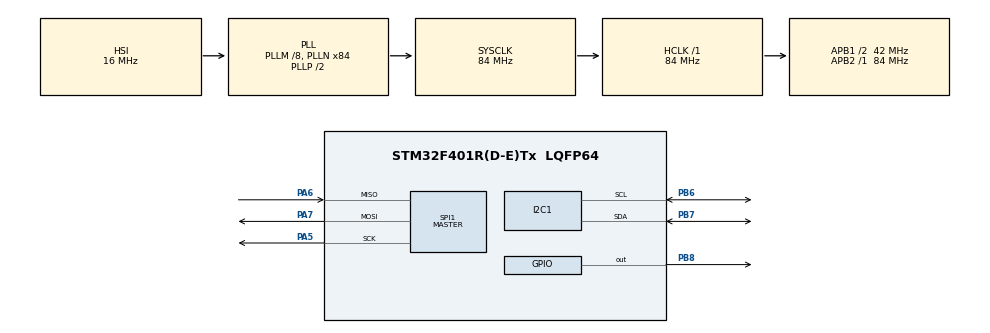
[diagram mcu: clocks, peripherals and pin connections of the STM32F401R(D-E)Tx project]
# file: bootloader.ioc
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I2C1.I2C_Mode=I2C_Fast
Mcu.Family=STM32F4
Mcu.Name=STM32F401R(D-E)Tx
Mcu.Package=LQFP64
NVIC.PriorityGroup=NVIC_PRIORITYGROUP_4
PA13.Mode=Serial_Wire
PA13.Signal=SYS_JTMS-SWDIO
PA14.Mode=Serial_Wire
PA14.Signal=SYS_JTCK-SWCLK
PA5.Mode=Full_Duplex_Master
PA5.Signal=SPI1_SCK
PA6.Mode=Full_Duplex_Master
PA6.Signal=SPI1_MISO
PA7.Mode=Full_Duplex_Master
PA7.Signal=SPI1_MOSI
PB6.Mode=I2C
PB6.Signal=I2C1_SCL
PB7.Mode=I2C
PB7.Signal=I2C1_SDA
PB8.Signal=GPIO_Output
PC14-OSC32_IN.Mode=LSE-External-Oscillator
PC14-OSC32_IN.Signal=RCC_OSC32_IN
PC15-OSC32_OUT.Mode=LSE-External-Oscillator
PC15-OSC32_OUT.Signal=RCC_OSC32_OUT
PH0\ -\ OSC_IN.Mode=HSE-External-Oscillator
PH0\ -\ OSC_IN.Signal=RCC_OSC_IN
PH1\ -\ OSC_OUT.Mode=HSE-External-Oscillator
PH1\ -\ OSC_OUT.Signal=RCC_OSC_OUT
ProjectManager.HeapSize=0x200
ProjectManager.StackSize=0x400
ProjectManager.TargetToolchain=CMake
RCC.48MHZClocksFreq_Value=42000000
RCC.AHBFreq_Value=84000000
RCC.APB1CLKDivider=RCC_HCLK_DIV2
RCC.APB1Freq_Value=42000000
RCC.APB1TimFreq_Value=84000000
RCC.APB2Freq_Value=84000000
RCC.APB2TimFreq_Value=84000000
RCC.CortexFreq_Value=84000000
RCC.HCLKFreq_Value=84000000
RCC.HSE_VALUE=25000000
RCC.HSI_VALUE=16000000
RCC.PLLM=8
RCC.PLLN=84
RCC.RCC_RTC_Clock_Source=RCC_RTCCLKSOURCE_LSE
RCC.SYSCLKFreq_VALUE=84000000
RCC.SYSCLKSource=RCC_SYSCLKSOURCE_PLLCLK
RCC.VCOOutputFreq_Value=168000000
SPI1.BaudRatePrescaler=SPI_BAUDRATEPRESCALER_16
SPI1.Direction=SPI_DIRECTION_2LINES
SPI1.Mode=SPI_MODE_MASTER
SPI1.VirtualType=VM_MASTER
VP_RTC_VS_RTC_Activate.Mode=RTC_Enabled
board=custom

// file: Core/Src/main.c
/* USER CODE BEGIN Header */
/**
  ******************************************************************************
  * @file           : main.c
  * @brief          : Main program body
  ******************************************************************************
  * @attention
  *
  * Copyright (c) 2026 STMicroelectronics.
  * All rights reserved.
  *
  * This software is licensed under terms that can be found in the LICENSE file
  * in the root directory of this software component.
  * If no LICENSE file comes with this software, it is provided AS-IS.
  *
  ******************************************************************************
  */
/* USER CODE END Header */
#include "main.h"
#include "i2c.h"
#include "rtc.h"
#include "spi.h"
#include "gpio.h"

/* USER CODE BEGIN Includes */
#include "bootloader.h"
#include "scroll.h"
#include <stdint.h>
#include "oled.h"
/* USER CODE END Includes */

/* USER CODE BEGIN PV */
extern FirmwareHeader_t header;
extern uint32_t crc;
/* USER CODE END PV */

void SystemClock_Config(void);

/* USER CODE BEGIN 0 */
u8g2_t u8g2;
/* USER CODE END 0 */

int main(void)
{

  /* MCU Configuration--------------------------------------------------------*/

  /* Reset of all peripherals, Initializes the Flash interface and the Systick. */
  HAL_Init();

  /* Configure the system clock */
  SystemClock_Config();

  /* Initialize all configured peripherals */
  MX_GPIO_Init();
  MX_SPI1_Init();
  MX_I2C1_Init();
  MX_RTC_Init();
  /* USER CODE BEGIN 2 */
  u8g2Init(&u8g2);
  crc = 0xFFFFFFFF;
  uint32_t out_size=0;
  uint8_t message=0;
  uint8_t update_message=Updata_Check();
  if (update_message== UPDATE_REQUESTED) {
    log_print("Update needed");
    log_display(&u8g2);
    message=Get_Update_Program_Chunk(&out_size);
    if(message==0||crc != header.crc){
      log_print("CRC ERROR");
      log_display(&u8g2);
      Get_Backup();
    }
  }else if (update_message ==UPDATE_NOT_NEEDED) {
    log_print("No Update needed");
    log_display(&u8g2);
  } else if(update_message ==UPDATE_Connect_Fail){
    log_print("Connection failed");
    log_display(&u8g2);
  }
  uint32_t msp   = *(uint32_t*)APP_ADDRESS;
  uint32_t reset = *(uint32_t*)(APP_ADDRESS + 4);
  jump_app();
  /* USER CODE END 2 */

  /* Infinite loop */
  while (1)
  {

  }
}

void SystemClock_Config(void)
{
  RCC_OscInitTypeDef RCC_OscInitStruct = {0};
  RCC_ClkInitTypeDef RCC_ClkInitStruct = {0};

  /** Configure the main internal regulator output voltage
  */
  __HAL_RCC_PWR_CLK_ENABLE();
  __HAL_PWR_VOLTAGESCALING_CONFIG(PWR_REGULATOR_VOLTAGE_SCALE2);

  /** Initializes the RCC Oscillators according to the specified parameters
  * in the RCC_OscInitTypeDef structure.
  */
  RCC_OscInitStruct.OscillatorType = RCC_OSCILLATORTYPE_HSI|RCC_OSCILLATORTYPE_LSE;
  RCC_OscInitStruct.LSEState = RCC_LSE_ON;
  RCC_OscInitStruct.HSIState = RCC_HSI_ON;
  RCC_OscInitStruct.HSICalibrationValue = RCC_HSICALIBRATION_DEFAULT;
  RCC_OscInitStruct.PLL.PLLState = RCC_PLL_ON;
  RCC_OscInitStruct.PLL.PLLSource = RCC_PLLSOURCE_HSI;
  RCC_OscInitStruct.PLL.PLLM = 8;
  RCC_OscInitStruct.PLL.PLLN = 84;
  RCC_OscInitStruct.PLL.PLLP = RCC_PLLP_DIV2;
  RCC_OscInitStruct.PLL.PLLQ = 4;
  if (HAL_RCC_OscConfig(&RCC_OscInitStruct) != HAL_OK)
  {
    Error_Handler();
  }

  /** Initializes the CPU, AHB and APB buses clocks
  */
  RCC_ClkInitStruct.ClockType = RCC_CLOCKTYPE_HCLK|RCC_CLOCKTYPE_SYSCLK
                              |RCC_CLOCKTYPE_PCLK1|RCC_CLOCKTYPE_PCLK2;
  RCC_ClkInitStruct.SYSCLKSource = RCC_SYSCLKSOURCE_PLLCLK;
  RCC_ClkInitStruct.AHBCLKDivider = RCC_SYSCLK_DIV1;
  RCC_ClkInitStruct.APB1CLKDivider = RCC_HCLK_DIV2;
  RCC_ClkInitStruct.APB2CLKDivider = RCC_HCLK_DIV1;

  if (HAL_RCC_ClockConfig(&RCC_ClkInitStruct, FLASH_LATENCY_2) != HAL_OK)
  {
    Error_Handler();
  }
}

void Error_Handler(void)
{
  __disable_irq();
  while (1)
  {
  }
}
